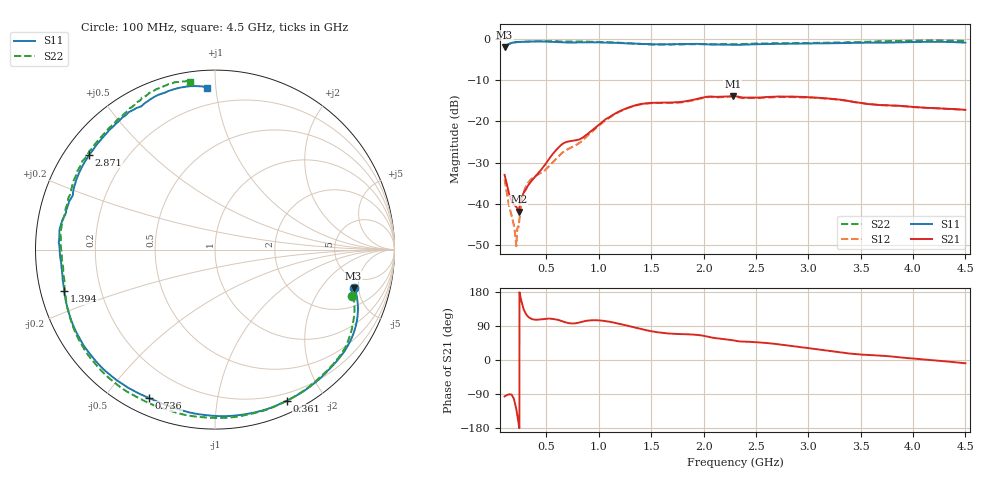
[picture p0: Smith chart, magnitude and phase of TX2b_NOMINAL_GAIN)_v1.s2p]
! Created Tue Apr 16 20:10:19 2013
# ghz S ma R 50
! 2 Port Network Data from SP1.SP block
! freq  magS11  angS11  magS21  angS21  magS12  angS12  magS22  angS22
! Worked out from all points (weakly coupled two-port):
!   4401 points, 100 MHz to 4.5 GHz, reference 50 ohm
!   highest |S21| = -13.83 dB at 2.278 GHz (marker M1); lowest = -41.9 dB at 234 MHz (marker M2)
!   lowest |S11| = -1.9 dB at 100 MHz (marker M3), VSWR 9.05, Z = 184 - j219 ohm
!   |S11| at or under -10 dB: nowhere
!   |S22| runs from -1.9 to -0.4 dB; largest |S21 - S12| = 0.012
!   S11 on the Smith chart (normalised r, x): 100 MHz: 3.67, -4.38; 361 MHz: 0.12, -1.58; 736 MHz: 0.07, -0.65; 1.394 GHz: 0.07, -0.13; 2.871 GHz: 0.07, +0.33; 4.5 GHz: 0.10, +0.95
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0.1  0.8011 -15.5  0.02252 -96.3  0.01991 -96.2  0.8058 -18.6
0.156  0.8855 -26.9  0.01182 -90.8  0.008176 -74.3  0.8851 -30.9
0.196  0.9115 -34.9  0.009663 -110.4  0.004788 -86.8  0.9096 -37.7
0.217  0.9177 -39.1  0.009004 -138.4  0.004232 -128.6  0.9144 -41.2
0.234  0.9196 -42.6  0.00807 -170.4  0.005269 135.9  0.9174 -44.7
0.289  0.9269 -52.2  0.01402 129.6  0.01459 97.0  0.9256 -54.6
0.361  0.9323 -64.6  0.0193 108.1  0.02034 81.6  0.9336 -66.2
0.515  0.9285 -88.2  0.03374 109.2  0.02781 90.9  0.9386 -88.2
0.641  0.9112 -104.2  0.05206 103.3  0.04068 97.4  0.9333 -103.4
0.736  0.9051 -114.1  0.05798 96.6  0.04835 97.8  0.9311 -113.4
0.834  0.9091 -123.6  0.06233 100.6  0.05731 103.5  0.9308 -122.9
1.089  0.9033 -145.6  0.1102 101.6  0.1085 102.0  0.9132 -144.0
1.394  0.8707 -164.7  0.1618 82.4  0.1608 81.8  0.8689 -163.6
1.567  0.8606 -172.7  0.1686 73.0  0.1671 72.1  0.8548 -171.5
1.91  0.8733 173.0  0.1838 66.9  0.1813 66.4  0.8656 173.7
2.278  0.8511 160.3  0.2036 52.2  0.2003 51.7  0.8642 159.7
2.3  0.8482 159.6  0.2028 50.9  0.1999 50.4  0.8632 158.9
2.871  0.8779 142.9  0.1998 35.8  0.1967 35.9  0.8895 138.7
3.034  0.8816 138.0  0.1959 30.2  0.1938 30.3  0.8939 133.5
3.767  0.9029 116.1  0.1568 9.9  0.1565 9.6  0.9429 113.2
4.192  0.9227 102.7  0.1453 -0.6  0.1447 -1.1  0.9574 104.1
4.5  0.9024 92.8  0.1384 -8.6  0.1376 -9.1  0.9464 98.3
